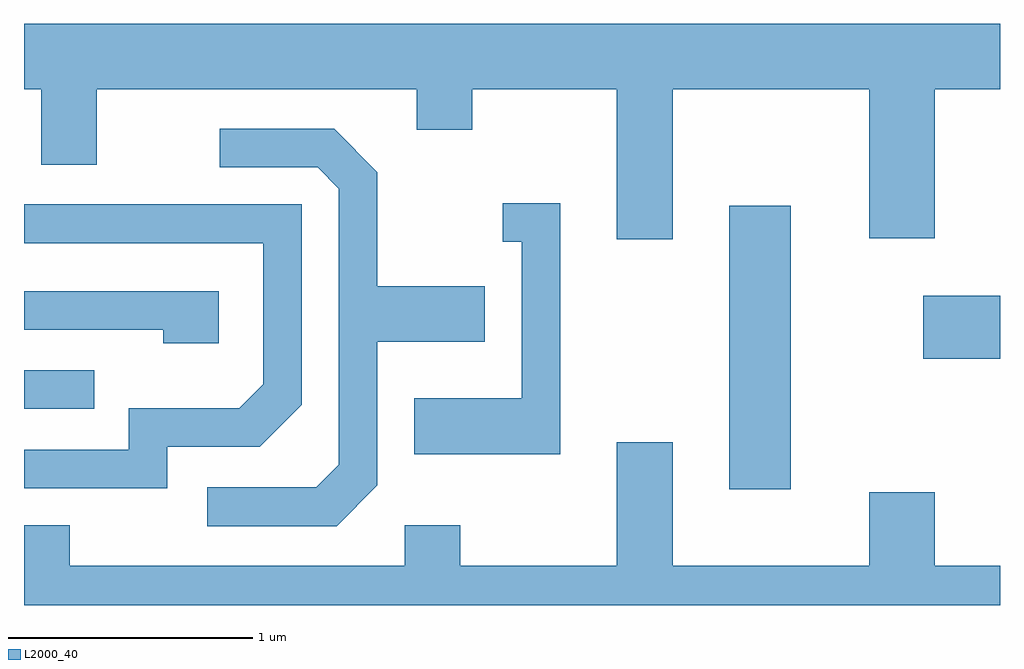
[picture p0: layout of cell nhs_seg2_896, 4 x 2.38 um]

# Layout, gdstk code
import gdstk
lib = gdstk.Library(unit=1e-6, precision=1e-09)
def R(c, l, rs):  # rectangles x0, y0, x1, y1
    for r in rs: c.add(gdstk.rectangle(r[:2], r[2:], *l))
def P(c, l, *ps):  # polygons
    for p in ps: c.add(gdstk.Polygon(p, *l))
L2000_40 = (2000, 40)

nhs_seg2_896 = lib.new_cell('nhs_seg2_896')
R(nhs_seg2_896, L2000_40, [(214.501,1002.276,214.754,1003.439), (211.611,1002.606,211.898,1002.764), (215.296,1002.811,215.611,1003.069)])
P(nhs_seg2_896, L2000_40, [(214.269,1003.916),(215.076,1003.916),(215.076,1003.306),(215.344,1003.306),(215.344,1003.916),(215.611,1003.916),(215.611,1004.184),(211.611,1004.184),(211.611,1003.916),(211.681,1003.916),(211.681,1003.606),(211.909,1003.606),(211.909,1003.916),(213.221,1003.916),(213.221,1003.751),(213.449,1003.751),(213.449,1003.916),(214.041,1003.916),(214.041,1003.301),(214.269,1003.301)],
  [(213.059,1002.294),(213.059,1002.881),(213.499,1002.881),(213.499,1003.109),(213.059,1003.109),(213.059,1003.577),(212.882,1003.754),(212.413,1003.754),(212.413,1003.596),(212.814,1003.596),(212.901,1003.509),(212.901,1002.377),(212.809,1002.284),(212.363,1002.284),(212.363,1002.126),(212.892,1002.126)],
  [(213.809,1003.449),(213.573,1003.449),(213.573,1003.291),(213.651,1003.291),(213.651,1002.649),(213.211,1002.649),(213.211,1002.421),(213.809,1002.421)],
  [(212.199,1002.451),(212.577,1002.451),(212.749,1002.624),(212.749,1003.444),(211.611,1003.444),(211.611,1003.286),(212.591,1003.286),(212.591,1002.707),(212.494,1002.609),(212.041,1002.609),(212.041,1002.439),(211.611,1002.439),(211.611,1002.281),(212.199,1002.281)],
  [(212.409,1003.089),(211.611,1003.089),(211.611,1002.931),(212.181,1002.931),(212.181,1002.876),(212.409,1002.876)],
  [(215.611,1001.964),(215.344,1001.964),(215.344,1002.264),(215.076,1002.264),(215.076,1001.964),(214.269,1001.964),(214.269,1002.469),(214.041,1002.469),(214.041,1001.964),(213.399,1001.964),(213.399,1002.129),(213.171,1002.129),(213.171,1001.964),(211.799,1001.964),(211.799,1002.129),(211.611,1002.129),(211.611,1001.802),(215.611,1001.802)])

lib.write_gds('nhs_seg2_896.gds')
